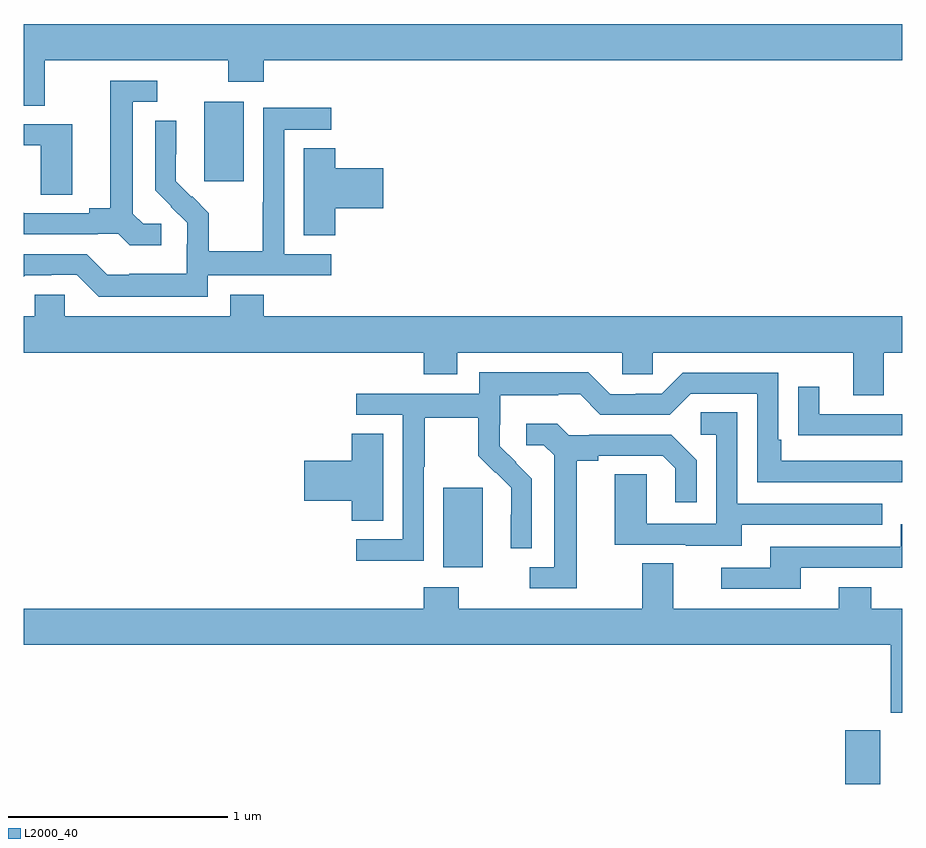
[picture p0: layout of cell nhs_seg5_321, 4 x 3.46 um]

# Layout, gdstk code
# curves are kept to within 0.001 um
import gdstk
lib = gdstk.Library(unit=1e-6, precision=1e-09)
def R(c, l, rs):  # rectangles x0, y0, x1, y1
    for r in rs: c.add(gdstk.rectangle(r[:2], r[2:], *l))
def P(c, l, *ps):  # polygons
    for p in ps: c.add(gdstk.Polygon(p, *l))
L2000_40 = (2000, 40)

nhs_seg5_321 = lib.new_cell('nhs_seg5_321')
R(nhs_seg5_321, L2000_40, [(134.741,850.799,134.901,851.044), (132.911,851.786,133.09,852.147), (131.822,853.545,132.001,853.906)])
P(nhs_seg5_321, L2000_40, [(131.095,854.096),(131.932,854.096),(131.932,853.997),(132.092,853.997),(132.092,854.096),(135,854.096),(135,854.26),(131,854.26),(131,853.888),(131.095,853.888)],
  [(131.626,853.35),(131.544,853.35),(131.497,853.397),(131.497,853.905),(131.608,853.905),(131.608,854.001),(131.393,854.001),(131.393,853.421),(131.297,853.421),(131.297,853.398),(131.002,853.398),(131,853.4),(131,853.302),(131.336,853.302),(131.336,853.305),(131.43,853.305),(131.482,853.253),(131.626,853.253)],
  [(131.838,853.116),(132.4,853.116),(132.4,853.212),(132.186,853.212),(132.186,853.779),(132.4,853.779),(132.4,853.878),(132.09,853.878),(132.09,853.448),(132.088,853.448),(132.088,853.225),(131.843,853.225),(131.843,853.399),(131.766,853.476),(131.763,853.473),(131.693,853.544),(131.694,853.82),(131.598,853.82),(131.598,853.502),(131.744,853.354),(131.744,853.257),(131.742,853.257),(131.742,853.123),(131.479,853.123),(131.479,853.119),(131.379,853.119),(131.286,853.212),(131,853.212),(131,853.109),(131.007,853.116),(131.126,853.116),(131.126,853.119),(131.241,853.119),(131.341,853.019),(131.838,853.019)],
  [(131.221,853.803),(131,853.803),(131,853.707),(131.076,853.707),(131.076,853.483),(131.221,853.483)],
  [(132.419,853.421),(132.637,853.421),(132.637,853.604),(132.419,853.604),(132.419,853.694),(132.275,853.694),(132.275,853.297),(132.419,853.297)],
  [(134.917,852.764),(135,852.764),(135,852.928),(132.092,852.928),(132.092,853.027),(131.939,853.027),(131.939,852.928),(131.187,852.928),(131.187,853.026),(131.049,853.026),(131.049,852.928),(131,852.928),(131,852.764),(132.821,852.764),(132.821,852.665),(132.973,852.665),(132.973,852.764),(133.725,852.764),(133.725,852.666),(133.863,852.666),(133.863,852.764),(134.777,852.764),(134.777,852.57),(134.917,852.57)],
  [(132.822,852.244),(132.825,852.244),(132.825,852.468),(133.069,852.468),(133.069,852.293),(133.146,852.216),(133.149,852.219),(133.22,852.149),(133.22,852.026),(133.218,852.026),(133.218,851.872),(133.314,851.872),(133.314,852.19),(133.168,852.338),(133.168,852.435),(133.17,852.435),(133.17,852.569),(133.433,852.569),(133.433,852.573),(133.533,852.573),(133.626,852.48),(133.941,852.48),(134.037,852.576),(134.34,852.576),(134.34,852.174),(135,852.174),(135,852.27),(134.449,852.27),(134.449,852.367),(134.436,852.367),(134.436,852.672),(134.001,852.672),(133.905,852.576),(133.787,852.576),(133.787,852.573),(133.671,852.573),(133.571,852.673),(133.074,852.673),(133.074,852.576),(132.513,852.576),(132.513,852.48),(132.726,852.48),(132.726,851.913),(132.513,851.913),(132.513,851.815),(132.822,851.815)],
  [(135,852.483),(134.623,852.483),(134.623,852.607),(134.527,852.607),(134.527,852.388),(134.629,852.388),(134.629,852.387),(135,852.387)],
  [(134.269,851.979),(134.909,851.979),(134.909,852.075),(134.25,852.075),(134.25,852.491),(134.082,852.491),(134.082,852.39),(134.154,852.39),(134.154,851.985),(133.836,851.985),(133.836,852.209),(133.691,852.209),(133.691,851.889),(134.015,851.889),(134.015,851.885),(134.269,851.885)],
  [(133.519,852.272),(133.615,852.272),(133.615,852.294),(133.91,852.294),(133.967,852.237),(133.967,852.081),(134.064,852.081),(134.064,852.274),(133.948,852.39),(133.576,852.39),(133.576,852.387),(133.482,852.387),(133.43,852.439),(133.287,852.439),(133.287,852.342),(133.368,852.342),(133.415,852.295),(133.415,851.787),(133.305,851.787),(133.305,851.691),(133.519,851.691)],
  [(132.637,852.395),(132.494,852.395),(132.494,852.272),(132.276,852.272),(132.276,852.089),(132.494,852.089),(132.494,851.998),(132.637,851.998)],
  [(134.539,851.784),(135,851.784),(135,851.983),(134.994,851.983),(134.994,851.88),(134.399,851.88),(134.399,851.784),(134.175,851.784),(134.175,851.688),(134.539,851.688)],
  [(135,851.596),(134.859,851.596),(134.859,851.695),(134.711,851.695),(134.711,851.596),(133.957,851.596),(133.957,851.804),(133.817,851.804),(133.817,851.596),(132.981,851.596),(132.981,851.695),(132.821,851.695),(132.821,851.596),(131,851.596),(131,851.432),(134.948,851.432),(134.948,851.123),(135,851.123)])

lib.write_gds('nhs_seg5_321.gds')
